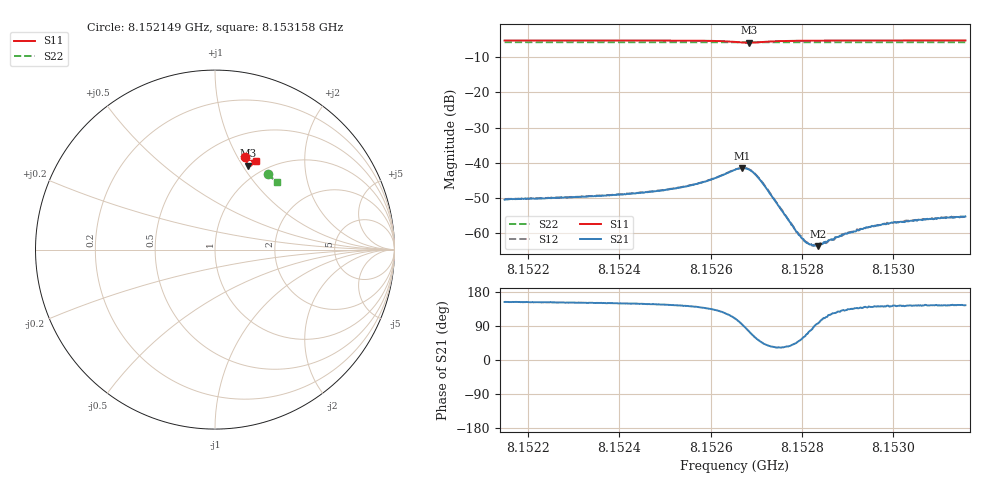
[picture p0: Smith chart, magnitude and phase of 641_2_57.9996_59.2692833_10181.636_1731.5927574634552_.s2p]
#  HZ  S  RI  R  50.00
! Rohde & Schwarz Vector Network Analyzer
! Rohde-Schwarz,ZNB20-2Port,1311601062101988,3.16
! Created: UTC 3/21/2024, 1:19:03 AM
! freq[Hz]  re:S11  im:S11  re:S21  im:S21  re:S12  im:S12  re:S22  im:S22
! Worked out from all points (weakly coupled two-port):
!   401 points, 8.152149 GHz to 8.153158 GHz, reference 50 ohm
!   highest |S21| = -41.47 dB at 8.152669 GHz (marker M1); lowest = -63.6 dB at 8.152835 GHz (marker M2)
!   lowest |S11| = -6.0 dB at 8.152684 GHz (marker M3), VSWR 3.02, Z = 42.5 + j53.1 ohm
!   |S11| at or under -10 dB: nowhere
!   |S22| runs from -5.9 to -5.8 dB; largest |S21 - S12| = 0.00014
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8.1521488e9  0.1671 0.5141  -0.00268 0.00136  -0.00272 0.00142  0.2942 0.4189
8.1523178e9  0.1798 0.5099  -0.00291 0.00161  -0.00292 0.00165  0.3027 0.4124
8.1524087e9  0.1869 0.5071  -0.00306 0.00181  -0.00307 0.00189  0.3074 0.4088
8.1524869e9  0.1938 0.504  -0.00336 0.00218  -0.00336 0.00227  0.3115 0.4056
8.1525399e9  0.1993 0.5008  -0.00364 0.00275  -0.00365 0.00279  0.3142 0.4034
8.1525752e9  0.2034 0.497  -0.00391 0.00336  -0.00391 0.00342  0.3159 0.4019
8.152608e9  0.2073 0.4912  -0.00406 0.00443  -0.00405 0.00451  0.3175 0.4003
8.1526535e9  0.2067 0.4738  -0.00268 0.00751  -0.00264 0.00762  0.3192 0.398
8.1526686e9  0.1987 0.4671  -0.000658 0.00842  -0.000595 0.00849  0.3197 0.3973
8.1526837e9  0.1865 0.467  0.00198 0.00782  0.00204 0.0079  0.3199 0.3968
8.1526964e9  0.1783 0.4734  0.00344 0.00611  0.00352 0.00617  0.3204 0.3967
8.1527115e9  0.1757 0.4836  0.00368 0.00391  0.00379 0.00398  0.321 0.3966
8.1527897e9  0.1923 0.5003  0.000716 0.000766  0.000715 0.000755  0.3258 0.3937
8.1528099e9  0.1957 0.5006  0.000281 0.000682  0.000272 0.000708  0.3267 0.3929
8.1528225e9  0.1975 0.5006  0.000103 0.000676  9.47e-05 0.000662  0.3273 0.3925
8.1528351e9  0.1991 0.5004  -7.39e-05 0.000656  -9.05e-05 0.000712  0.328 0.3919
8.1528503e9  0.201 0.5002  -0.000255 0.000686  -0.000299 0.000692  0.3287 0.3913
8.1528932e9  0.2056 0.4993  -0.00063 0.000738  -0.000641 0.000758  0.3307 0.3894
8.152926e9  0.2087 0.4986  -0.000814 0.000753  -0.000856 0.000762  0.3324 0.3878
8.1529916e9  0.2143 0.4967  -0.00108 0.000876  -0.00107 0.000862  0.3355 0.3852
8.1530294e9  0.2171 0.4956  -0.0012 0.000893  -0.00121 0.000915  0.3373 0.3835
8.1531581e9  0.2266 0.492  -0.00142 0.00101  -0.00141 0.00101  0.3434 0.378
